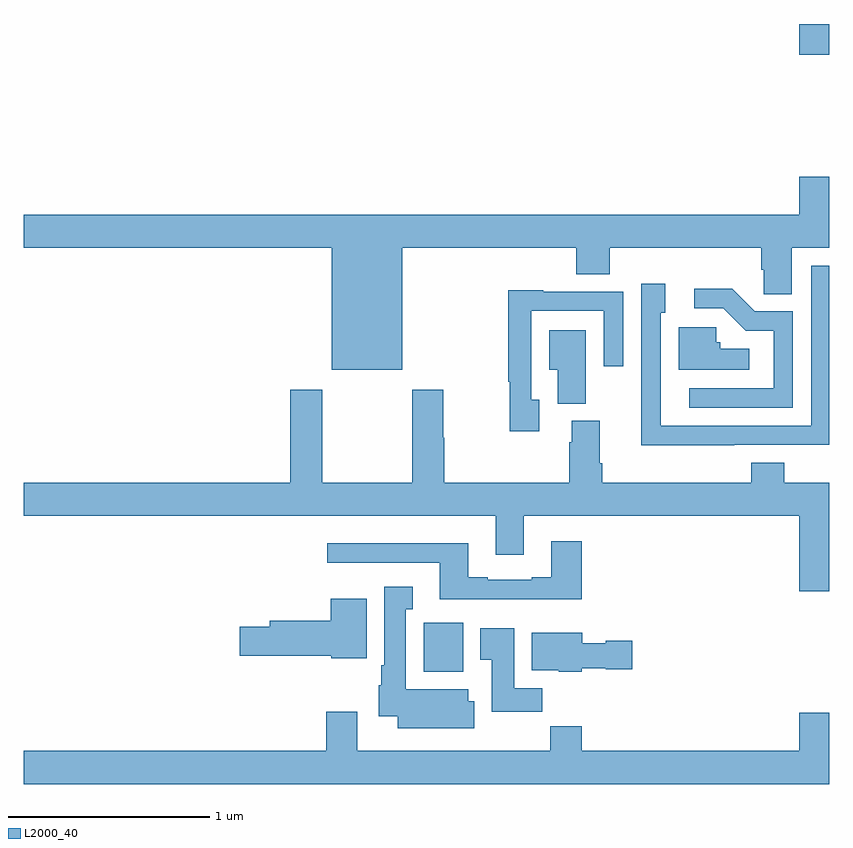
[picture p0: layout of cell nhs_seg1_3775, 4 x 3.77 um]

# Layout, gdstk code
import gdstk
lib = gdstk.Library(unit=1e-6, precision=1e-09)
def R(c, l, rs):  # rectangles x0, y0, x1, y1
    for r in rs: c.add(gdstk.rectangle(r[:2], r[2:], *l))
def P(c, l, *ps):  # polygons
    for p in ps: c.add(gdstk.Polygon(p, *l))
L2000_40 = (2000, 40)

nhs_seg1_3775 = lib.new_cell('nhs_seg1_3775')
R(nhs_seg1_3775, L2000_40, [(318.986,526.982,319.183,527.224), (320.852,530.046,321,530.199)])
P(nhs_seg1_3775, L2000_40, [(318.88,529.088),(319.745,529.088),(319.745,528.955),(319.91,528.955),(319.91,529.088),(320.663,529.088),(320.663,528.979),(320.676,528.979),(320.676,528.856),(320.815,528.856),(320.815,529.088),(321,529.088),(321,529.441),(320.852,529.441),(320.852,529.252),(317,529.252),(317,529.088),(318.53,529.088),(318.53,528.482),(318.88,528.482)],
  [(320.528,528.108),(321,528.108),(321,528.999),(320.91,528.999),(320.91,528.204),(320.163,528.204),(320.163,528.765),(320.185,528.765),(320.185,528.91),(320.067,528.91),(320.067,528.41),(320.066,528.41),(320.066,528.107),(320.528,528.107)],
  [(320.82,528.771),(320.631,528.771),(320.518,528.884),(320.331,528.884),(320.331,528.786),(320.475,528.786),(320.586,528.675),(320.724,528.675),(320.724,528.39),(320.304,528.39),(320.304,528.294),(320.82,528.294)],
  [(319.561,528.333),(319.521,528.333),(319.521,528.774),(319.881,528.774),(319.881,528.498),(319.977,528.498),(319.977,528.87),(319.581,528.87),(319.581,528.877),(319.405,528.877),(319.405,528.421),(319.413,528.421),(319.413,528.177),(319.561,528.177)],
  [(320.602,528.586),(320.458,528.586),(320.458,528.618),(320.439,528.618),(320.439,528.693),(320.252,528.693),(320.252,528.482),(320.602,528.482)],
  [(319.792,528.679),(319.61,528.679),(319.61,528.482),(319.652,528.482),(319.652,528.313),(319.792,528.313)],
  [(319.083,528.143),(319.083,528.382),(318.928,528.382),(318.928,527.92),(318.483,527.92),(318.483,528.382),(318.323,528.382),(318.323,527.92),(317,527.92),(317,527.756),(319.343,527.756),(319.343,527.562),(319.483,527.562),(319.483,527.756),(320.852,527.756),(320.852,527.382),(321,527.382),(321,527.92),(320.777,527.92),(320.777,528.019),(320.612,528.019),(320.612,527.92),(319.874,527.92),(319.874,528.016),(319.861,528.016),(319.861,528.228),(319.721,528.228),(319.721,528.122),(319.709,528.122),(319.709,527.92),(319.088,527.92),(319.088,528.143)],
  [(319.772,527.629),(319.619,527.629),(319.619,527.452),(319.523,527.452),(319.523,527.439),(319.303,527.439),(319.303,527.452),(319.207,527.452),(319.207,527.62),(318.507,527.62),(318.507,527.523),(319.067,527.523),(319.067,527.342),(319.772,527.342)],
  [(319.237,526.835),(319.207,526.835),(319.207,526.894),(318.898,526.894),(318.898,527.291),(318.931,527.291),(318.931,527.404),(318.791,527.404),(318.791,527.014),(318.776,527.014),(318.776,526.914),(318.764,526.914),(318.764,526.76),(318.857,526.76),(318.857,526.7),(319.237,526.7)],
  [(318.703,527.344),(318.524,527.344),(318.524,527.234),(318.221,527.234),(318.221,527.204),(318.072,527.204),(318.072,527.062),(318.528,527.062),(318.528,527.048),(318.703,527.048)],
  [(319.574,526.9),(319.435,526.9),(319.435,527.197),(319.268,527.197),(319.268,527.041),(319.325,527.041),(319.325,526.782),(319.574,526.782)],
  [(319.77,527),(319.89,527),(319.89,526.993),(320.023,526.993),(320.023,527.135),(319.89,527.135),(319.89,527.122),(319.774,527.122),(319.774,527.176),(319.523,527.176),(319.523,526.988),(319.656,526.988),(319.656,526.982),(319.77,526.982)],
  [(321,526.777),(320.852,526.777),(320.852,526.588),(319.772,526.588),(319.772,526.712),(319.615,526.712),(319.615,526.588),(318.655,526.588),(318.655,526.783),(318.503,526.783),(318.503,526.588),(317,526.588),(317,526.424),(321,526.424)])

lib.write_gds('nhs_seg1_3775.gds')
